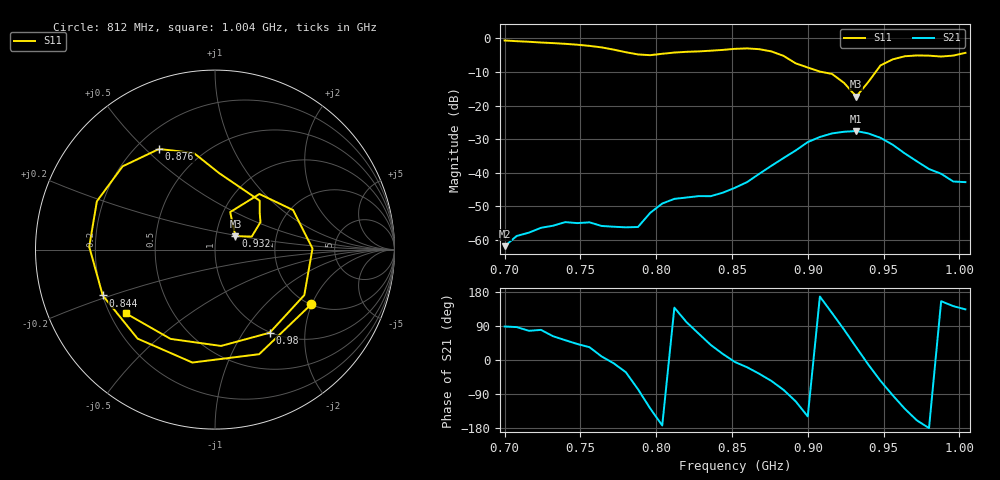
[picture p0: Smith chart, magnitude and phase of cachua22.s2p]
# Hz S RI R 50
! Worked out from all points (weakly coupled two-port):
!   39 points, 700 MHz to 1.004 GHz, reference 50 ohm
!   highest |S21| = -27.61 dB at 932 MHz (marker M1); lowest = -62.0 dB at 700 MHz (marker M2)
!   lowest |S11| = -17.3 dB at 932 MHz (marker M3), VSWR 1.32, Z = 62 + j9.49 ohm
!   |S11| at or under -10 dB: 909.4 MHz to 944.8 MHz (35.38 MHz wide, 3.82 % of centre)
!   S12 and S22 are empty: the file has one direction only
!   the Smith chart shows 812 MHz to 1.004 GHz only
!   S11 on the Smith chart (normalised r, x): 812 MHz: 2.02, -1.98; 844 MHz: 0.20, -0.19; 876 MHz: 0.29, +0.55; 932 MHz: 1.24, +0.19; 980 MHz: 0.99, -1.33; 1.004 GHz: 0.27, -0.30
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7e8  0.7673 0.5333  2.18e-05 0.000798  0 0  0 0
7.24e8  0.8291 -0.2651  0.000275 0.00147  0 0  0 0
7.4e8  0.4441 -0.7036  0.00112 0.00144  0 0  0 0
7.56e8  -0.1973 -0.7502  0.0015 0.00101  0 0  0 0
7.72e8  -0.6546 -0.1897  0.00154 -0.000238  0 0  0 0
7.8e8  -0.5785 0.2335  0.00129 -0.000815  0 0  0 0
7.88e8  -0.2248 0.5324  0.000341 -0.00151  0 0  0 0
7.96e8  0.2584 0.5008  -0.00152 -0.00198  0 0  0 0
8.04e8  0.5728 0.1464  -0.00343 -0.000436  0 0  0 0
8.12e8  0.5369 -0.3039  -0.00302 0.0027  0 0  0 0
8.28e8  -0.1259 -0.6291  0.00155 0.00418  0 0  0 0
8.44e8  -0.6254 -0.2556  0.00482 0.00137  0 0  0 0
8.52e8  -0.7007 0.0157  0.00591 -0.000551  0 0  0 0
8.76e8  -0.3116 0.5607  0.00719 -0.0104  0 0  0 0
9e8  0.249 0.2726  -0.0244 -0.0147  0 0  0 0
9.08e8  0.2494 0.2017  -0.0332 0.00735  0 0  0 0
9.32e8  0.1136 0.0751  0.0347 0.0229  0 0  0 0
9.48e8  0.2477 0.3097  0.0189 -0.027  0 0  0 0
9.56e8  0.435 0.2203  -0.00134 -0.026  0 0  0 0
9.64e8  0.5432 0.00617  -0.0121 -0.0151  0 0  0 0
9.8e8  0.3048 -0.4632  -0.0113 -4.57e-05  0 0  0 0
1.004e9  -0.4963 -0.3555  -0.00497 0.00521  0 0  0 0
